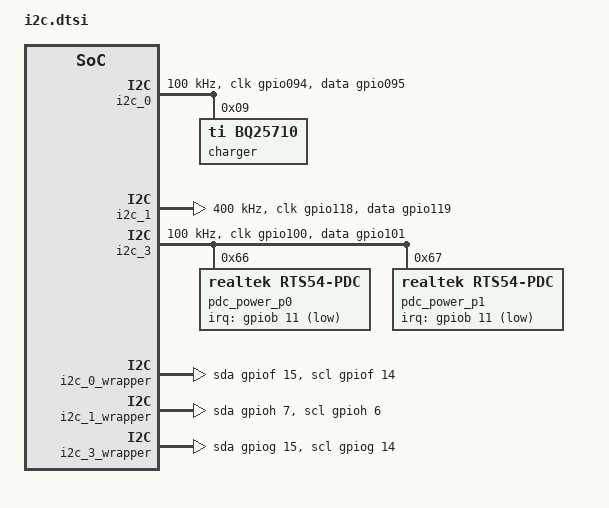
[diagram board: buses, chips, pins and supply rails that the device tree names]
/* Copyright 2025 The ChromiumOS Authors
 * Use of this source code is governed by a BSD-style license that can be
 * found in the LICENSE file.
 */

/ {
	named-i2c-ports {
		compatible = "named-i2c-ports";

		i2c_ec_i2c_charger: ec_i2c_charger {
			i2c-port = <&i2c_0>;
			enum-names = "I2C_PORT_BATTERY",
				"I2C_PORT_CHARGER",
				"I2C_PORT_PORT80";
		};
		i2c_ec_i2c_sensor: ec_i2c_sensor {
			i2c-port = <&i2c_1>;
			enum-names = "I2C_PORT_SENSOR";
		};
		i2c_ec_i2c_pdc: ec_i2c_pdc {
			i2c-port = <&i2c_3>;
			enum-names = "I2C_PORT_PD";
		};
	};
};

&i2c_0 {
	label = "I2C_PORT_CHARGER";
	clock-frequency = <I2C_BITRATE_STANDARD>;

	pinctrl-0 = <&i2c00_clk_gpio094
		     &i2c00_data_gpio095>;
	pinctrl-names = "default";
	status = "okay";

	charger: bq25710@9 {
		compatible = "ti,bq25710";
		status = "okay";
		reg = <0x9>;
	};
};

&i2c_1 {
	pinctrl-0 = <&i2c01_clk_gpio118
		     &i2c01_data_gpio119>;
	pinctrl-names = "default";
	status = "okay";

	label = "I2C_PORT_SENSOR";
	clock-frequency = <I2C_BITRATE_FAST>;
};

&i2c_3 {
	label = "I2C_PORT_PD";
	clock-frequency = <I2C_BITRATE_STANDARD>;
	pinctrl-0 = <&i2c03_clk_gpio100
		     &i2c03_data_gpio101>;
	pinctrl-names = "default";
	status = "okay";

	pdc_power_p0: rts54-pdc@66 {
		compatible = "realtek,rts54-pdc";
		reg = <0x66>;
		irq-gpios = <&gpiob 11 GPIO_ACTIVE_LOW>;
		ccd;
	};

	pdc_power_p1: rts54-pdc@67 {
		compatible = "realtek,rts54-pdc";
		reg = <0x67>;
		irq-gpios = <&gpiob 11 GPIO_ACTIVE_LOW>;
		no-fw-update;
	};
};

&i2c_0_wrapper {
	status = "okay";
	scl-gpios = <&gpiof 14 GPIO_ACTIVE_HIGH>;
	sda-gpios = <&gpiof 15 GPIO_ACTIVE_HIGH>;
};
&i2c_1_wrapper {
	status = "okay";
	scl-gpios = <&gpioh 6 GPIO_ACTIVE_HIGH>;
	sda-gpios = <&gpioh 7 GPIO_ACTIVE_HIGH>;
};
&i2c_3_wrapper {
	status = "okay";
	scl-gpios = <&gpiog 14 GPIO_ACTIVE_HIGH>;
	sda-gpios = <&gpiog 15 GPIO_ACTIVE_HIGH>;
};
